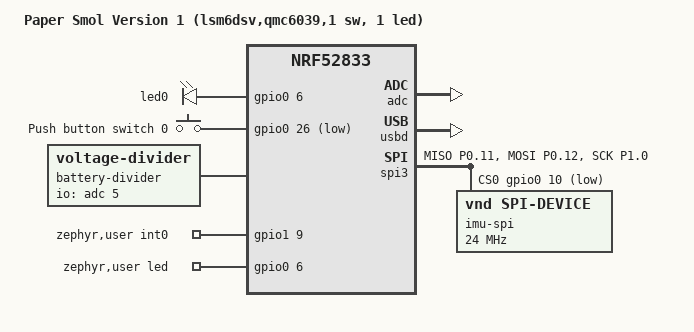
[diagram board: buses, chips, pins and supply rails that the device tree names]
/dts-v1/;
#include <nordic/nrf52833_qdaa.dtsi>

/* Paper Smol GPIO Pin List
parentheses is pin for ANNA-B402
--IMU--
MISO:P0.11(14)
MOSI:P0.12(15)
SCLK:P1.00(16)
CS:P0.10(23)
INT:P1.09(13)
CLKEN:P0.02(20) unused with LSMDSV6
--PERIPHERALS--
SW0:P0.26(33)
LED0:P0.06(32)
BATTSNS:P0.29(29)
*/

&pinctrl {
	spi3_default: spi3_default {
		group1 {
			psels = <NRF_PSEL(SPIM_MISO, 0, 11)>,
					<NRF_PSEL(SPIM_MOSI, 0, 12)>,
					<NRF_PSEL(SPIM_SCK, 1, 0)>;
		};
	};

	spi3_sleep: spi3_sleep {
		group1 {
			psels = <NRF_PSEL(SPIM_MISO, 0, 11)>,
					<NRF_PSEL(SPIM_MOSI, 0, 12)>,
					<NRF_PSEL(SPIM_SCK, 1, 0)>;
			low-power-enable;
		};
	};
};

/ {
	model = "Paper Smol Version 1 (lsm6dsv,qmc6039,1 sw, 1 led)";
	compatible = "kekkels,paper-smol-v1";

	chosen {
		zephyr,sram = &sram0;
		zephyr,flash = &flash0;
		zephyr,console = &cdc_acm_uart0;
		zephyr,shell-uart = &cdc_acm_uart0;
	};


    aliases {
        sw0 = &button0;
    };

	leds {
		compatible = "gpio-leds";
		led0: led_0 {
			gpios = <&gpio0 6 GPIO_ACTIVE_HIGH>;
		};
	};

	buttons {
		compatible = "gpio-keys";
		button0: button_0 {
			gpios = <&gpio0 26 (GPIO_PULL_UP | GPIO_ACTIVE_LOW)>;
			label = "Push button switch 0";
		};
	};

	battery-divider {
		compatible = "voltage-divider";
		status = "okay";
		io-channels = <&adc 5>;
		output-ohms = <1714692>;
		full-ohms = <(1714692+2000000)>;
	};

	zephyr,user {
	    	int0-gpios = <&gpio1 9 0>;
 	    	led-gpios = <&gpio0 6 GPIO_ACTIVE_HIGH>;
	};
};

&reg1 {
	regulator-initial-mode = <NRF5X_REG_MODE_DCDC>;
};

&adc { status = "okay"; };
&gpiote { status = "okay"; };
&gpio0 { status = "okay"; };
&gpio1 { status = "okay"; };

zephyr_udc0: &usbd {
	compatible = "nordic,nrf-usbd";
	status = "okay";
	cdc_acm_uart0: cdc_acm_uart0 {
		compatible = "zephyr,cdc-acm-uart";
	};
};

&nfct { status = "disabled"; };

&spi3 {
	compatible = "nordic,nrf-spim";
	status = "okay";
	max-frequency = <DT_FREQ_M(24)>;
	pinctrl-0 = <&spi3_default>;
	pinctrl-1 = <&spi3_sleep>;
	pinctrl-names = "default", "sleep";
	cs-gpios = <&gpio0 10 GPIO_ACTIVE_LOW>;

	imu_spi: imu_spi@0 {
		compatible = "vnd,spi-device";
		spi-max-frequency = <DT_FREQ_M(24)>;
		label = "imu-spi";
		reg = <0>;
	};
};
